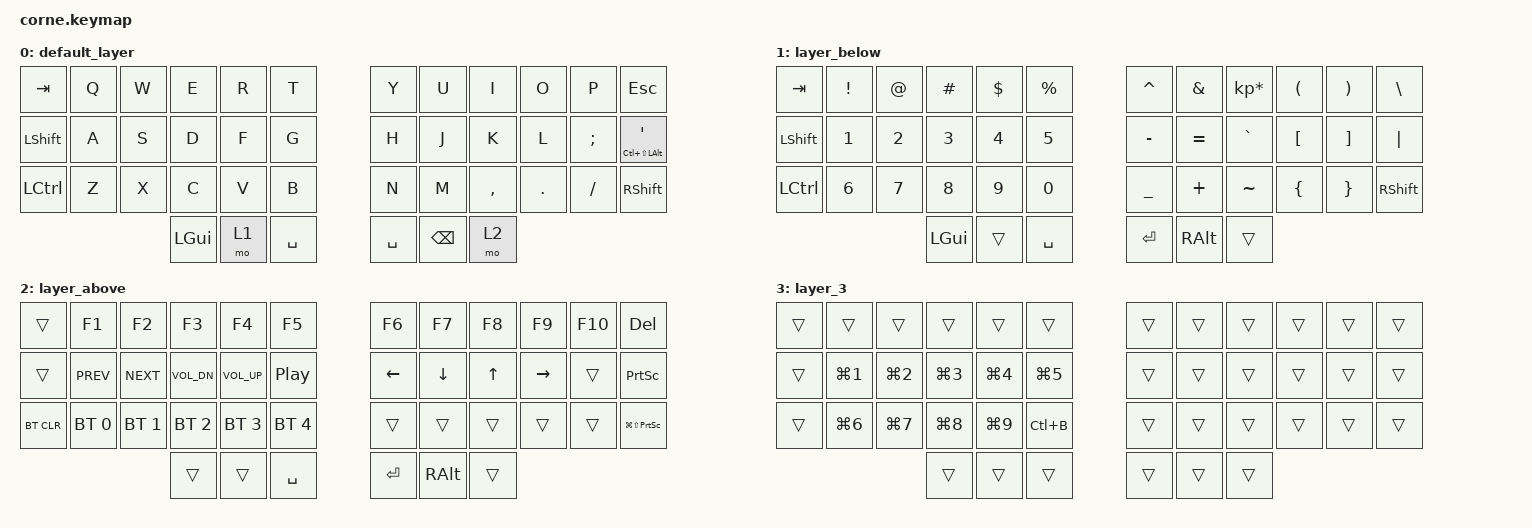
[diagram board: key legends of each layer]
/*
 * Copyright (c) 2020 The ZMK Contributors
 *
 * SPDX-License-Identifier: MIT
 */

#include <behaviors.dtsi>
#include <dt-bindings/zmk/bt.h>
#include <dt-bindings/zmk/keys.h>

/ {
    behaviors {
        tp: tap_preferred {
            compatible = "zmk,behavior-hold-tap";
            label = "TAP_PREFERRED";
            #binding-cells = <2>;
            tapping-term-ms = <150>;
            quick-tap-ms = <0>;
            flavor = "tap-preferred";
            bindings = <&kp>, <&kp>;
        };
    };

    conditional_layers {
        compatible = "zmk,conditional-layers";

        tri_layer {
            if-layers = <1 2>;
            then-layer = <3>;
        };
    };

    keymap {
        compatible = "zmk,keymap";

        default_layer {
            // -----------------------------------------------------------------------------------------
            // | TAB  |  Q  |  W  |  E  |  R  |    T    |   |  Y  |  U   |  I  |  O  |  P  | ESC |
            // | SHFT |  A  |  S  |  D  |  F  |    G    |   |  H  |  J   |  K  |  L  |  ;  |  '   |
            // | CTRL |  Z  |  X  |  C  |  V  |    B    |   |  N  |  M   |  ,  |  .  |  /  | SHFT |
            //                    | GUI | LWR | SPC |   | SPC | BKSP  | RSE |

            bindings = <
&kp TAB    &kp Q  &kp W  &kp E     &kp R  &kp T        &kp Y      &kp U     &kp I      &kp O    &kp P     &kp ESC
&kp LSHFT  &kp A  &kp S  &kp D     &kp F  &kp G        &kp H      &kp J     &kp K      &kp L    &kp SEMI  &tp LC(LS(LALT)) SQT
&kp LCTRL  &kp Z  &kp X  &kp C     &kp V  &kp B        &kp N      &kp M     &kp COMMA  &kp DOT  &kp FSLH  &kp RSHFT
                         &kp LGUI  &mo 1  &kp SPACE    &kp SPACE  &kp BSPC  &mo 2
            >;
        };

        layer_below {
            // -----------------------------------------------------------------------------------------
            // |      |  !  |  @  |  #  |  $  |    %     |   |  ^  |  &  |  *  |  (  |  )  |   \   |
            // | SHFT |  1  |  2  |  3  |  4  |    5     |   |  -  |  =  |  `  |  [  |  ]  |  "|"  |
            // | CTRL |  6  |  7  |  8  |  9  |    0     |   |  _  |  +  |  ~  |  {  |  }  | RSHFT |
            //                     | GUI |     | SPACE |   | ENT | RALT |    |

            bindings = <
&kp TAB    &kp EXCL  &kp AT  &kp HASH  &kp DLLR  &kp PRCNT    &kp CARET  &kp AMPS   &kp KP_MULTIPLY  &kp LPAR  &kp RPAR  &kp BSLH
&kp LSHFT  &kp N1    &kp N2  &kp N3    &kp N4    &kp N5       &kp MINUS  &kp EQUAL  &kp GRAVE        &kp LBKT  &kp RBKT  &kp PIPE
&kp LCTRL  &kp N6    &kp N7  &kp N8    &kp N9    &kp N0       &kp UNDER  &kp PLUS   &kp TILDE        &kp LBRC  &kp RBRC  &kp RSHFT
                             &kp LGUI  &trans    &kp SPACE    &kp RET    &kp RALT   &trans
            >;
        };

        layer_above {
            // -----------------------------------------------------------------------------------------
            // |       |  F1  |  F2  |  F3  |  F4  |  F5 |            |  F6  |  F7  |  F8  |  F9  |  F10  | DEL |
            // |       | Prev | Next | Vol - | Vol + | Play/Pause |   |      | LFT | DWN |  UP | RGT |     |     |
            // | BTCLR | BT1 | BT2 | BT3 | BT4 | BT5 |   |            |     |     |     |     |     |     |
            //                    |     |     |    |                  |     |     |     |

            bindings = <
&trans      &kp F1        &kp F2        &kp F3        &kp F4        &kp F5          &kp F6    &kp F7    &kp F8  &kp F9     &kp F10  &kp DEL
&trans      &kp C_PREV    &kp C_NEXT    &kp C_VOL_DN  &kp C_VOL_UP  &kp C_PP        &kp LEFT  &kp DOWN  &kp UP  &kp RIGHT  &trans   &kp PRINTSCREEN
&bt BT_CLR  &bt BT_SEL 0  &bt BT_SEL 1  &bt BT_SEL 2  &bt BT_SEL 3  &bt BT_SEL 4    &trans    &trans    &trans  &trans     &trans   &kp LG(LS(PRINTSCREEN))
                                        &trans        &trans        &kp SPACE       &kp RET   &kp RALT  &trans
            >;
        };

        layer_3 {
            bindings = <
&trans  &trans            &trans            &trans            &trans            &trans              &trans  &trans  &trans  &trans  &trans  &trans
&trans  &kp LG(NUMBER_1)  &kp LG(NUMBER_2)  &kp LG(NUMBER_3)  &kp LG(NUMBER_4)  &kp LG(NUMBER_5)    &trans  &trans  &trans  &trans  &trans  &trans
&trans  &kp LG(NUMBER_6)  &kp LG(NUMBER_7)  &kp LG(NUMBER_8)  &kp LG(NUMBER_9)  &kp LC(B)            &trans  &trans  &trans  &trans  &trans  &trans
                                            &trans            &trans            &trans              &trans  &trans  &trans
            >;
        };
    };
};
